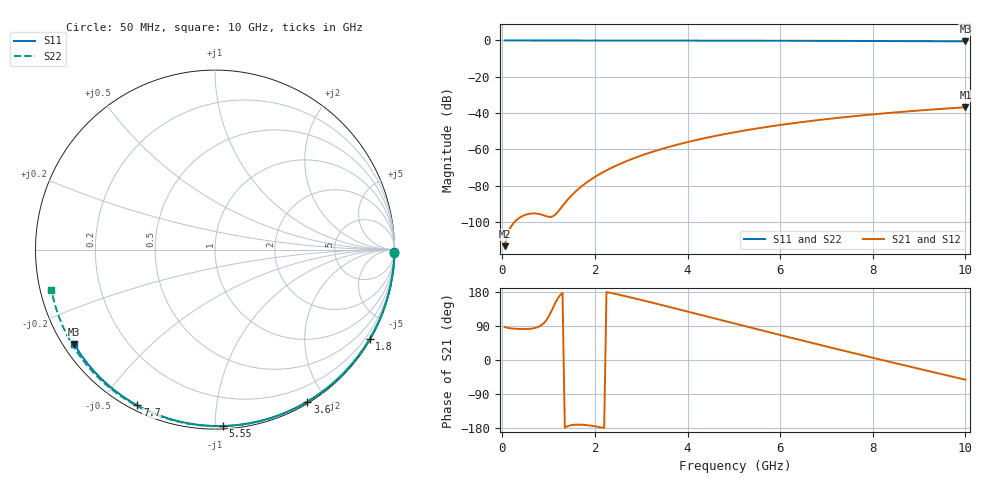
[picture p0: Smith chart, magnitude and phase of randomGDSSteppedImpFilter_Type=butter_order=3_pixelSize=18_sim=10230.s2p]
! freq	dB(S11)	phase(S11)	dB(S12)	phase(S12)
!  dB(S21)	phase(S21)	dB(S22)	phase(S22)
!S-par simulation data
#  GHz  S  DB  R 50
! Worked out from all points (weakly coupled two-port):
!   200 points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, 50 MHz to 10 GHz, reference 50 ohm
!   highest |S21| = -36.81 dB at 10 GHz (marker M1); lowest = -113.3 dB at 50 MHz (marker M2)
!   lowest |S11| = -0.5 dB at 10 GHz (marker M3), VSWR 35.23, Z = 1.55 - j15.2 ohm
!   |S11| at or under -10 dB: nowhere
!   |S22| runs from -0.6 to 0.0 dB; largest |S21 - S12| = 0
!   S11 on the Smith chart (normalised r, x): 50 MHz: open; 1.8 GHz: 0.03, -3.72; 3.6 GHz: 0.02, -1.78; 5.55 GHz: 0.02, -1.05; 7.7 GHz: 0.02, -0.62; 10 GHz: 0.03, -0.30
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0.05  -0.00 -0.9  -113.30 87.3  -113.30 87.3  -0.00 -1.0
0.45  -0.01 -7.6  -96.54 81.6  -96.54 81.6  -0.01 -8.6
0.85  -0.02 -14.4  -95.94 92.4  -95.94 92.4  -0.02 -16.2
1.25  -0.03 -21.0  -92.82 171.3  -92.82 171.3  -0.03 -23.7
1.7  -0.04 -28.5  -80.59 -170.7  -80.59 -170.7  -0.04 -32.0
1.75  -0.04 -29.3  -79.58 -171.1  -79.58 -171.1  -0.04 -33.0
1.8  -0.04 -30.1  -78.61 -171.6  -78.61 -171.6  -0.04 -33.9
2.1  -0.04 -35.0  -73.63 -177.1  -73.63 -177.1  -0.05 -39.4
2.3  -0.05 -38.2  -70.88 178.1  -70.88 178.1  -0.06 -43.0
2.5  -0.05 -41.4  -68.45 172.8  -68.45 172.8  -0.06 -46.6
2.9  -0.06 -47.8  -64.31 161.4  -64.31 161.4  -0.07 -53.7
3.4  -0.07 -55.6  -60.08 146.3  -60.08 146.3  -0.08 -62.5
3.6  -0.08 -58.7  -58.62 140.2  -58.62 140.2  -0.09 -65.9
4.3  -0.10 -69.3  -54.20 118.5  -54.20 118.5  -0.11 -77.7
5.05  -0.12 -80.2  -50.40 95.2  -50.40 95.2  -0.14 -90.0
5.55  -0.14 -87.4  -48.27 79.7  -48.27 79.7  -0.16 -98.0
6.1  -0.17 -95.0  -46.20 62.9  -46.20 62.9  -0.19 -106.6
6.7  -0.20 -103.2  -44.22 44.6  -44.22 44.6  -0.23 -115.8
7.7  -0.27 -116.5  -41.44 14.7  -41.44 14.7  -0.30 -131.0
8.35  -0.32 -124.9  -39.92 -4.4  -39.92 -4.4  -0.36 -140.8
9.2  -0.40 -135.9  -38.19 -29.0  -38.19 -29.0  -0.45 -153.7
10  -0.49 -146.1  -36.81 -51.9  -36.81 -51.9  -0.56 -166.2
